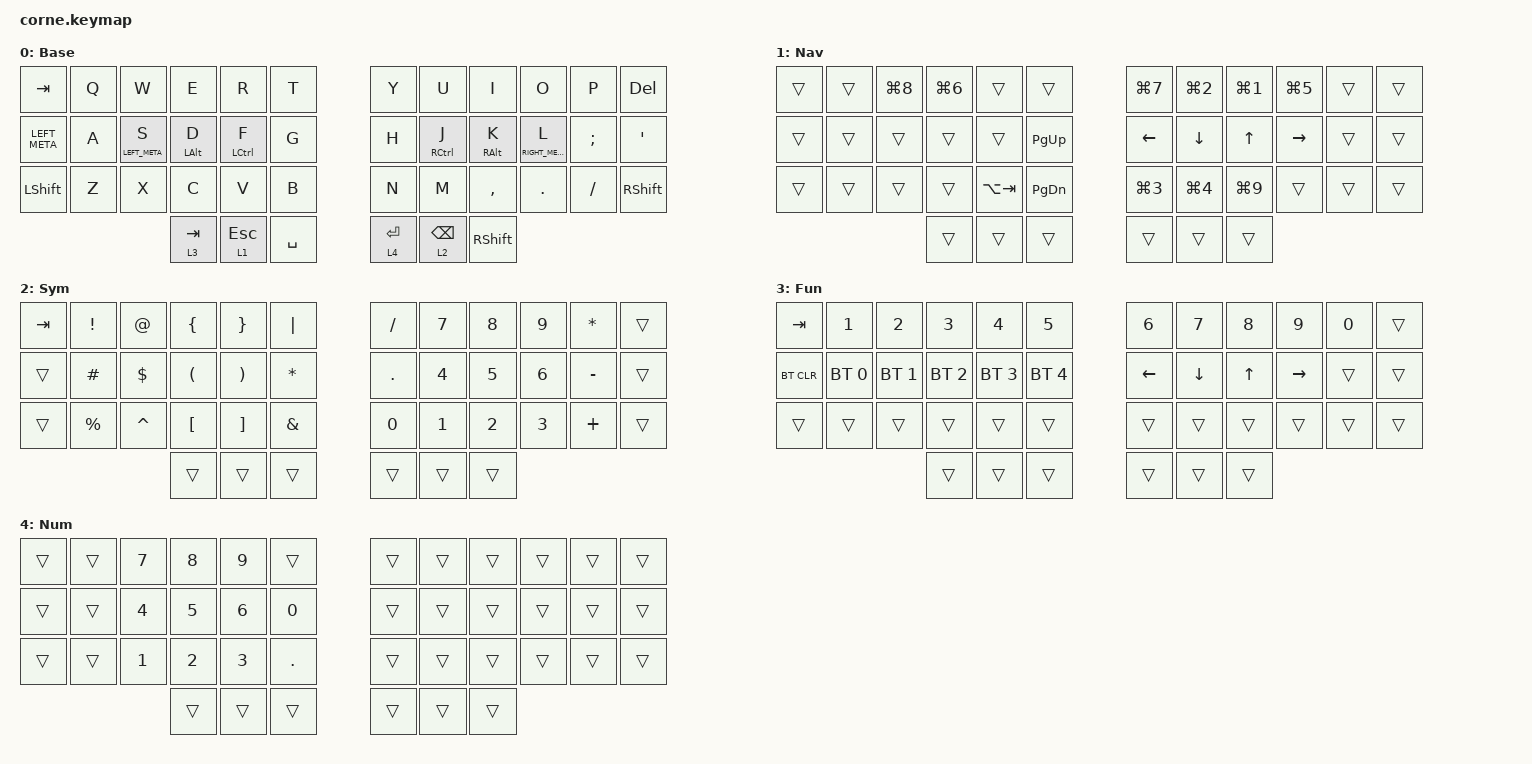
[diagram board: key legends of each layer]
/*
 * Copyright (c) 2020 The ZMK Contributors
 *
 * SPDX-License-Identifier: MIT
 */

#include <behaviors.dtsi>
#include <dt-bindings/zmk/bt.h>
#include <dt-bindings/zmk/keys.h>

/ {
    behaviors {
        hrml: home_row_mod_left {
            compatible = "zmk,behavior-hold-tap";
            #binding-cells = <2>;
            flavor = "balanced";
            tapping-term-ms = <280>;
            quick-tap-ms = <175>;
            require-prior-idle-ms = <150>;
            hold-trigger-on-release;
            hold-trigger-key-positions = <18 19 20 21 22 23 30 31 32 33 34 35 37 38 39 40 41 36 6 7 8 9 10 11>;
            bindings = <&kp>, <&kp>;
        };

        hrmr: home_row_mod_right {
            compatible = "zmk,behavior-hold-tap";
            #binding-cells = <2>;
            flavor = "balanced";
            tapping-term-ms = <280>;
            quick-tap-ms = <175>;
            require-prior-idle-ms = <150>;
            hold-trigger-on-release;
            hold-trigger-key-positions = <0 1 2 3 4 5 12 13 14 15 16 17 36 37 38 39 40 41 24 25 26 27 28 29>;
            bindings = <&kp>, <&kp>;
        };
    };

    keymap {
        compatible = "zmk,keymap";

        default_layer {
            display-name = "Base";
            bindings = <
&kp TAB        &kp Q  &kp W              &kp E             &kp R          &kp T        &kp Y         &kp U            &kp I              &kp O               &kp P     &kp DELETE
&kp LEFT_META  &kp A  &hrml LEFT_META S  &hrml LEFT_ALT D  &hrml LCTRL F  &kp G        &kp H         &hrmr RCTRL J    &hrmr RIGHT_ALT K  &hrmr RIGHT_META L  &kp SEMI  &kp SQT
&kp LSHFT      &kp Z  &kp X              &kp C             &kp V          &kp B        &kp N         &kp M            &kp COMMA          &kp DOT             &kp FSLH  &kp RIGHT_SHIFT
                                         &lt 3 TAB         &lt 1 ESCAPE   &kp SPACE    &lt 4 RETURN  &lt 2 BACKSPACE  &kp RIGHT_SHIFT
            >;
        };

        nav_layer {
            display-name = "Nav";
            bindings = <
&trans  &trans  &kp LG(N8)  &kp LG(N6)  &trans       &trans           &kp LG(N7)  &kp LG(N2)  &kp LG(N1)  &kp LG(N5)  &trans  &trans
&trans  &trans  &trans      &trans      &trans       &kp PAGE_UP      &kp LEFT    &kp DOWN    &kp UP      &kp RIGHT   &trans  &trans
&trans  &trans  &trans      &trans      &kp LA(TAB)  &kp PAGE_DOWN    &kp LG(N3)  &kp LG(N4)  &kp LG(N9)  &trans      &trans  &trans
                            &trans      &trans       &trans           &trans      &trans      &trans
            >;
        };

        sym_layer {
            display-name = "Sym";
            bindings = <
&kp TAB  &kp EXCL     &kp AT      &kp LEFT_BRACE        &kp RIGHT_BRACE        &kp PIPE         &kp SLASH   &kp N7  &kp N8  &kp N9  &kp ASTERISK  &trans
&trans   &kp POUND    &kp DOLLAR  &kp LEFT_PARENTHESIS  &kp RIGHT_PARENTHESIS  &kp ASTERISK     &kp PERIOD  &kp N4  &kp N5  &kp N6  &kp MINUS     &trans
&trans   &kp PERCENT  &kp CARET   &kp LEFT_BRACKET      &kp RIGHT_BRACKET      &kp AMPERSAND    &kp N0      &kp N1  &kp N2  &kp N3  &kp PLUS      &trans
                                  &trans                &trans                 &trans           &trans      &trans  &trans
            >;
        };

        fun_layer {
            display-name = "Fun";
            bindings = <
&kp TAB     &kp N1        &kp N2        &kp N3        &kp N4        &kp N5          &kp N6    &kp N7    &kp N8  &kp N9     &kp N0  &trans
&bt BT_CLR  &bt BT_SEL 0  &bt BT_SEL 1  &bt BT_SEL 2  &bt BT_SEL 3  &bt BT_SEL 4    &kp LEFT  &kp DOWN  &kp UP  &kp RIGHT  &trans  &trans
&trans      &trans        &trans        &trans        &trans        &trans          &trans    &trans    &trans  &trans     &trans  &trans
                                        &trans        &trans        &trans          &trans    &trans    &trans
            >;
        };

        num_layer {
            bindings = <
&trans  &trans  &kp N7  &kp N8  &kp N9  &trans     &trans  &trans  &trans  &trans  &trans  &trans
&trans  &trans  &kp N4  &kp N5  &kp N6  &kp N0     &trans  &trans  &trans  &trans  &trans  &trans
&trans  &trans  &kp N1  &kp N2  &kp N3  &kp DOT    &trans  &trans  &trans  &trans  &trans  &trans
                        &trans  &trans  &trans     &trans  &trans  &trans
            >;

            label = "Num";
        };
    };
};
